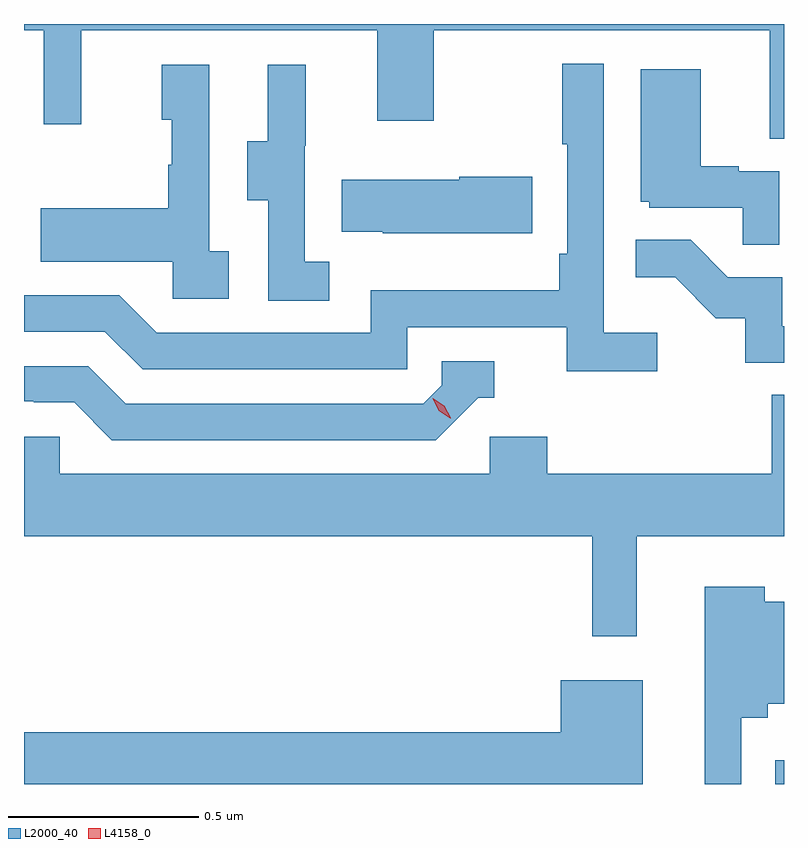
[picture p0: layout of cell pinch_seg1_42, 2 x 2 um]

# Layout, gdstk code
import gdstk
lib = gdstk.Library(unit=1e-6, precision=1e-09)
def R(c, l, rs):  # rectangles x0, y0, x1, y1
    for r in rs: c.add(gdstk.rectangle(r[:2], r[2:], *l))
def P(c, l, *ps):  # polygons
    for p in ps: c.add(gdstk.Polygon(p, *l))
L2000_40 = (2000, 40)
L4158_0 = (4158, 0)

pinch_seg1_42 = lib.new_cell('pinch_seg1_42')
R(pinch_seg1_42, L2000_40, [(1085.444,567.064,1085.467,567.127)])
P(pinch_seg1_42, L2000_40, [(1085.467,569.064),(1083.467,569.064),(1083.467,569.048),(1083.519,569.048),(1083.519,568.8),(1083.617,568.8),(1083.617,569.048),(1084.397,569.048),(1084.397,568.809),(1084.545,568.809),(1084.545,569.048),(1085.429,569.048),(1085.429,568.762),(1085.467,568.762)],
  [(1085.134,568.252),(1084.992,568.252),(1084.992,568.96),(1084.884,568.96),(1084.884,568.747),(1084.896,568.747),(1084.896,568.459),(1084.876,568.459),(1084.876,568.363),(1084.38,568.363),(1084.38,568.251),(1083.816,568.251),(1083.717,568.35),(1083.467,568.35),(1083.467,568.254),(1083.68,568.254),(1083.779,568.155),(1084.476,568.155),(1084.476,568.266),(1084.895,568.266),(1084.895,568.15),(1085.134,568.15)],
  [(1084.27,568.439),(1084.206,568.439),(1084.206,568.743),(1084.208,568.743),(1084.208,568.957),(1084.109,568.957),(1084.109,568.755),(1084.055,568.755),(1084.055,568.6),(1084.11,568.6),(1084.11,568.336),(1084.27,568.336)],
  [(1084.006,568.466),(1083.954,568.466),(1083.954,568.957),(1083.83,568.957),(1083.83,568.812),(1083.856,568.812),(1083.856,568.694),(1083.846,568.694),(1083.846,568.579),(1083.511,568.579),(1083.511,568.439),(1083.858,568.439),(1083.858,568.341),(1084.006,568.341)],
  [(1085.454,568.677),(1085.348,568.677),(1085.348,568.69),(1085.248,568.69),(1085.248,568.945),(1085.09,568.945),(1085.09,568.596),(1085.112,568.596),(1085.112,568.581),(1085.359,568.581),(1085.359,568.483),(1085.454,568.483)],
  [(1084.804,568.662),(1084.613,568.662),(1084.613,568.654),(1084.303,568.654),(1084.303,568.517),(1084.411,568.517),(1084.411,568.514),(1084.804,568.514)],
  [(1085.467,568.269),(1085.463,568.269),(1085.463,568.398),(1085.319,568.398),(1085.221,568.496),(1085.077,568.496),(1085.077,568.397),(1085.181,568.397),(1085.288,568.29),(1085.365,568.29),(1085.365,568.173),(1085.467,568.173)],
  [(1084.662,568.08),(1084.705,568.08),(1084.705,568.176),(1084.566,568.176),(1084.566,568.113),(1084.518,568.065),(1083.735,568.065),(1083.636,568.164),(1083.467,568.164),(1083.467,568.071),(1083.492,568.071),(1083.492,568.068),(1083.599,568.068),(1083.698,567.969),(1084.551,567.969)],
  [(1085.08,567.716),(1085.467,567.716),(1085.467,568.088),(1085.435,568.088),(1085.435,567.88),(1084.844,567.88),(1084.844,567.978),(1084.692,567.978),(1084.692,567.88),(1083.561,567.88),(1083.561,567.978),(1083.467,567.978),(1083.467,567.716),(1084.963,567.716),(1084.963,567.453),(1085.08,567.453)],
  [(1085.355,567.239),(1085.424,567.239),(1085.424,567.275),(1085.467,567.275),(1085.467,567.544),(1085.416,567.544),(1085.416,567.583),(1085.258,567.583),(1085.258,567.064),(1085.355,567.064)],
  [(1085.095,567.337),(1084.88,567.337),(1084.88,567.2),(1083.467,567.2),(1083.467,567.064),(1085.095,567.064)])
P(pinch_seg1_42, L4158_0, [(1084.589,568.027),(1084.558,568.046),(1084.542,568.079),(1084.542,568.079),(1084.542,568.079),(1084.573,568.06),(1084.59,568.028),(1084.59,568.027)])

lib.write_gds('pinch_seg1_42.gds')
